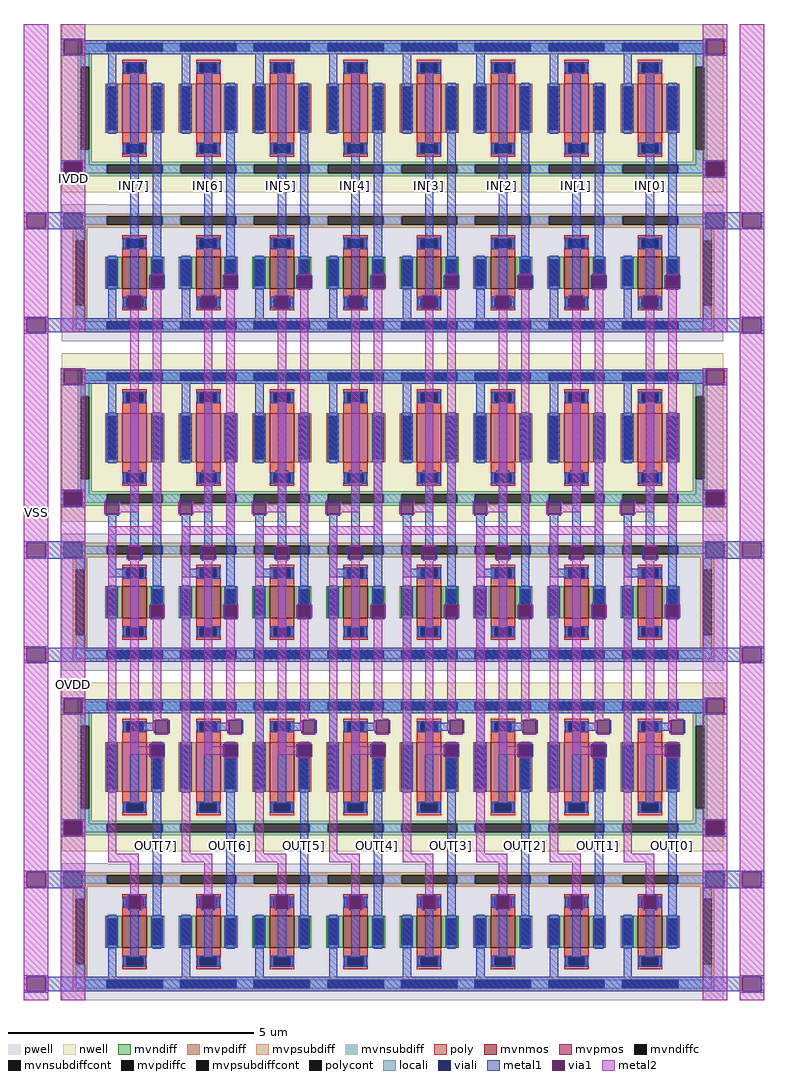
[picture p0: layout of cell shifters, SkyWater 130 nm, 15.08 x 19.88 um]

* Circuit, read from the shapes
.subckt shifters IN[0] IN[1] IN[2] IN[3] IN[4] IN[5] IN[6] IN[7] OUT[0] OUT[1] OUT[2] OUT[3] OUT[4] OUT[5] OUT[6] OUT[7] VSS IVDD OVDD
XM1 OUT[7] shifter_raw_1_0/inverter_raw_0/OUT VSS VSS sky130_fd_pr__nfet_g5v0d10v5 w=0.65 l=0.5
XM2 n1 IN[7] VSS VSS sky130_fd_pr__nfet_g5v0d10v5 w=0.65 l=0.5
XM3 shifter_raw_1_0/inverter_raw_0/OUT IN[7] VSS VSS sky130_fd_pr__nfet_g5v0d10v5 w=0.65 l=0.5
XM4 OUT[6] shifter_raw_1_1/inverter_raw_0/OUT VSS VSS sky130_fd_pr__nfet_g5v0d10v5 w=0.65 l=0.5
XM5 n2 IN[6] VSS VSS sky130_fd_pr__nfet_g5v0d10v5 w=0.65 l=0.5
XM6 shifter_raw_1_1/inverter_raw_0/OUT IN[6] VSS VSS sky130_fd_pr__nfet_g5v0d10v5 w=0.65 l=0.5
XM7 OUT[5] shifter_raw_1_2/inverter_raw_0/OUT VSS VSS sky130_fd_pr__nfet_g5v0d10v5 w=0.65 l=0.5
XM8 n3 IN[5] VSS VSS sky130_fd_pr__nfet_g5v0d10v5 w=0.65 l=0.5
XM9 shifter_raw_1_2/inverter_raw_0/OUT IN[5] VSS VSS sky130_fd_pr__nfet_g5v0d10v5 w=0.65 l=0.5
XM10 OUT[4] shifter_raw_1_3/inverter_raw_0/OUT VSS VSS sky130_fd_pr__nfet_g5v0d10v5 w=0.65 l=0.5
XM11 n4 IN[4] VSS VSS sky130_fd_pr__nfet_g5v0d10v5 w=0.65 l=0.5
XM12 shifter_raw_1_3/inverter_raw_0/OUT IN[4] VSS VSS sky130_fd_pr__nfet_g5v0d10v5 w=0.65 l=0.5
XM13 OUT[3] shifter_raw_1_4/inverter_raw_0/OUT VSS VSS sky130_fd_pr__nfet_g5v0d10v5 w=0.65 l=0.5
XM14 n5 IN[3] VSS VSS sky130_fd_pr__nfet_g5v0d10v5 w=0.65 l=0.5
XM15 shifter_raw_1_4/inverter_raw_0/OUT IN[3] VSS VSS sky130_fd_pr__nfet_g5v0d10v5 w=0.65 l=0.5
XM16 OUT[2] shifter_raw_1_5/inverter_raw_0/OUT VSS VSS sky130_fd_pr__nfet_g5v0d10v5 w=0.65 l=0.5
XM17 n6 IN[2] VSS VSS sky130_fd_pr__nfet_g5v0d10v5 w=0.65 l=0.5
XM18 shifter_raw_1_5/inverter_raw_0/OUT IN[2] VSS VSS sky130_fd_pr__nfet_g5v0d10v5 w=0.65 l=0.5
XM19 OUT[1] shifter_raw_1_6/inverter_raw_0/OUT VSS VSS sky130_fd_pr__nfet_g5v0d10v5 w=0.65 l=0.5
XM20 n7 IN[1] VSS VSS sky130_fd_pr__nfet_g5v0d10v5 w=0.65 l=0.5
XM21 shifter_raw_1_6/inverter_raw_0/OUT IN[1] VSS VSS sky130_fd_pr__nfet_g5v0d10v5 w=0.65 l=0.5
XM22 OUT[0] shifter_raw_1_7/inverter_raw_0/OUT VSS VSS sky130_fd_pr__nfet_g5v0d10v5 w=0.65 l=0.5
XM23 n8 IN[0] VSS VSS sky130_fd_pr__nfet_g5v0d10v5 w=0.65 l=0.5
XM24 shifter_raw_1_7/inverter_raw_0/OUT IN[0] VSS VSS sky130_fd_pr__nfet_g5v0d10v5 w=0.65 l=0.5
XM25 OUT[7] n1 OVDD OVDD sky130_fd_pr__pfet_g5v0d10v5 w=1 l=0.5
XM26 n1 OUT[7] OVDD OVDD sky130_fd_pr__pfet_g5v0d10v5 w=1 l=0.5
XM27 shifter_raw_1_0/inverter_raw_0/OUT IN[7] IVDD IVDD sky130_fd_pr__pfet_g5v0d10v5 w=1 l=0.5
XM28 OUT[6] n2 OVDD OVDD sky130_fd_pr__pfet_g5v0d10v5 w=1 l=0.5
XM29 n2 OUT[6] OVDD OVDD sky130_fd_pr__pfet_g5v0d10v5 w=1 l=0.5
XM30 shifter_raw_1_1/inverter_raw_0/OUT IN[6] IVDD IVDD sky130_fd_pr__pfet_g5v0d10v5 w=1 l=0.5
XM31 OUT[5] n3 OVDD OVDD sky130_fd_pr__pfet_g5v0d10v5 w=1 l=0.5
XM32 n3 OUT[5] OVDD OVDD sky130_fd_pr__pfet_g5v0d10v5 w=1 l=0.5
XM33 shifter_raw_1_2/inverter_raw_0/OUT IN[5] IVDD IVDD sky130_fd_pr__pfet_g5v0d10v5 w=1 l=0.5
XM34 OUT[4] n4 OVDD OVDD sky130_fd_pr__pfet_g5v0d10v5 w=1 l=0.5
XM35 n4 OUT[4] OVDD OVDD sky130_fd_pr__pfet_g5v0d10v5 w=1 l=0.5
XM36 shifter_raw_1_3/inverter_raw_0/OUT IN[4] IVDD IVDD sky130_fd_pr__pfet_g5v0d10v5 w=1 l=0.5
XM37 OUT[3] n5 OVDD OVDD sky130_fd_pr__pfet_g5v0d10v5 w=1 l=0.5
XM38 n5 OUT[3] OVDD OVDD sky130_fd_pr__pfet_g5v0d10v5 w=1 l=0.5
XM39 shifter_raw_1_4/inverter_raw_0/OUT IN[3] IVDD IVDD sky130_fd_pr__pfet_g5v0d10v5 w=1 l=0.5
XM40 OUT[2] n6 OVDD OVDD sky130_fd_pr__pfet_g5v0d10v5 w=1 l=0.5
XM41 n6 OUT[2] OVDD OVDD sky130_fd_pr__pfet_g5v0d10v5 w=1 l=0.5
XM42 shifter_raw_1_5/inverter_raw_0/OUT IN[2] IVDD IVDD sky130_fd_pr__pfet_g5v0d10v5 w=1 l=0.5
XM43 OUT[1] n7 OVDD OVDD sky130_fd_pr__pfet_g5v0d10v5 w=1 l=0.5
XM44 n7 OUT[1] OVDD OVDD sky130_fd_pr__pfet_g5v0d10v5 w=1 l=0.5
XM45 shifter_raw_1_6/inverter_raw_0/OUT IN[1] IVDD IVDD sky130_fd_pr__pfet_g5v0d10v5 w=1 l=0.5
XM46 OUT[0] n8 OVDD OVDD sky130_fd_pr__pfet_g5v0d10v5 w=1 l=0.5
XM47 n8 OUT[0] OVDD OVDD sky130_fd_pr__pfet_g5v0d10v5 w=1 l=0.5
XM48 shifter_raw_1_7/inverter_raw_0/OUT IN[0] IVDD IVDD sky130_fd_pr__pfet_g5v0d10v5 w=1 l=0.5
.ends

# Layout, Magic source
magic
tech sky130A
magscale 1 2
<< locali >>
rect -63 3414 37 3420
rect -63 3356 -51 3414
rect 25 3402 37 3414
rect 2552 3414 2652 3420
rect 2552 3402 2564 3414
rect 25 3368 124 3402
rect 2452 3368 2564 3402
rect 25 3356 37 3368
rect -63 3350 37 3356
rect 2552 3356 2564 3368
rect 2640 3356 2652 3414
rect 2552 3350 2652 3356
rect -63 3204 37 3210
rect -63 3146 -51 3204
rect 25 3192 37 3204
rect 2552 3204 2652 3210
rect 2552 3192 2564 3204
rect 25 3158 124 3192
rect 2452 3158 2564 3192
rect 25 3146 37 3158
rect -63 3140 37 3146
rect 2552 3146 2564 3158
rect 2640 3146 2652 3204
rect 2552 3140 2652 3146
rect -63 2072 37 2078
rect -63 2014 -51 2072
rect 25 2060 37 2072
rect 2552 2072 2652 2078
rect 2552 2060 2564 2072
rect 25 2026 124 2060
rect 2452 2026 2564 2060
rect 25 2014 37 2026
rect -63 2008 37 2014
rect 2552 2014 2564 2026
rect 2640 2014 2652 2072
rect 2552 2008 2652 2014
rect -63 1862 37 1868
rect -63 1804 -51 1862
rect 25 1850 37 1862
rect 2552 1862 2652 1868
rect 2552 1850 2564 1862
rect 25 1816 124 1850
rect 2452 1816 2564 1850
rect 25 1804 37 1816
rect -63 1798 37 1804
rect 2552 1804 2564 1816
rect 2640 1804 2652 1862
rect 2552 1798 2652 1804
rect -63 730 37 736
rect -63 672 -51 730
rect 25 718 37 730
rect 2552 730 2652 736
rect 2552 718 2564 730
rect 25 684 124 718
rect 2452 684 2564 718
rect 25 672 37 684
rect -63 666 37 672
rect 2552 672 2564 684
rect 2640 672 2652 730
rect 2552 666 2652 672
rect -63 520 37 526
rect -63 462 -51 520
rect 25 508 37 520
rect 2552 520 2652 526
rect 2552 508 2564 520
rect 25 474 124 508
rect 2452 474 2564 508
rect 25 462 37 474
rect -63 456 37 462
rect 2552 462 2564 474
rect 2640 462 2652 520
rect 2552 456 2652 462
<< viali >>
rect -51 3356 25 3414
rect 2564 3356 2640 3414
rect -51 3146 25 3204
rect 2564 3146 2640 3204
rect -51 2014 25 2072
rect 2564 2014 2640 2072
rect -51 1804 25 1862
rect 2564 1804 2640 1862
rect -51 672 25 730
rect 2564 672 2640 730
rect -51 462 25 520
rect 2564 462 2640 520
<< metal1 >>
rect -63 3910 37 3916
rect 2552 3910 2652 3916
rect -63 3852 -51 3910
rect 25 3852 2564 3910
rect 2640 3852 2652 3910
rect -63 3846 37 3852
rect 2552 3846 2652 3852
rect -63 3414 37 3420
rect -63 3356 -51 3414
rect 25 3356 37 3414
rect -63 3350 37 3356
rect -213 3204 37 3210
rect -213 3146 -201 3204
rect -125 3146 -51 3204
rect 25 3146 37 3204
rect -213 3140 37 3146
rect 221 2819 255 3820
rect 521 2819 555 3820
rect 821 2819 855 3820
rect 1121 2819 1155 3820
rect 1421 2819 1455 3820
rect 1721 2819 1755 3820
rect 2021 2819 2055 3820
rect 2321 2819 2355 3820
rect 2552 3414 2652 3420
rect 2552 3356 2564 3414
rect 2640 3356 2652 3414
rect 2552 3350 2652 3356
rect 2552 3204 2802 3210
rect 2552 3146 2564 3204
rect 2640 3146 2714 3204
rect 2790 3146 2802 3204
rect 2552 3140 2802 3146
rect -213 2778 -113 2784
rect 2702 2778 2802 2784
rect -213 2720 -201 2778
rect -125 2720 2714 2778
rect 2790 2720 2802 2778
rect -213 2714 -113 2720
rect 2702 2714 2802 2720
rect -63 2568 37 2574
rect 2552 2568 2652 2574
rect -63 2510 -51 2568
rect 25 2510 2564 2568
rect 2640 2510 2652 2568
rect -63 2504 37 2510
rect 2552 2504 2652 2510
rect -63 2072 37 2078
rect -63 2014 -51 2072
rect 25 2014 37 2072
rect -63 2008 37 2014
rect 2552 2072 2652 2078
rect 2552 2014 2564 2072
rect 2640 2014 2652 2072
rect 2552 2008 2652 2014
rect -213 1862 37 1868
rect -213 1804 -201 1862
rect -125 1804 -51 1862
rect 25 1804 37 1862
rect -213 1798 37 1804
rect 2552 1862 2802 1868
rect 2552 1804 2564 1862
rect 2640 1804 2714 1862
rect 2790 1804 2802 1862
rect 2552 1798 2802 1804
rect -213 1436 -113 1442
rect 2702 1436 2802 1442
rect -213 1378 -201 1436
rect -125 1378 2714 1436
rect 2790 1378 2802 1436
rect -213 1372 -113 1378
rect 2702 1372 2802 1378
rect -63 1226 37 1232
rect 2552 1226 2652 1232
rect -63 1168 -51 1226
rect 25 1168 2564 1226
rect 2640 1168 2652 1226
rect -63 1162 37 1168
rect 2552 1162 2652 1168
rect -63 730 37 736
rect -63 672 -51 730
rect 25 672 37 730
rect -63 666 37 672
rect -213 520 37 526
rect -213 462 -201 520
rect -125 462 -51 520
rect 25 462 37 520
rect -213 456 37 462
rect 312 209 346 1053
rect 612 209 646 1053
rect 912 209 946 1053
rect 1212 209 1246 1053
rect 1512 209 1546 1053
rect 1812 209 1846 1053
rect 2112 209 2146 1053
rect 2412 209 2446 1053
rect 2552 730 2652 736
rect 2552 672 2564 730
rect 2640 672 2652 730
rect 2552 666 2652 672
rect 2552 520 2802 526
rect 2552 462 2564 520
rect 2640 462 2714 520
rect 2790 462 2802 520
rect 2552 456 2802 462
rect -213 94 -113 100
rect 2702 94 2802 100
rect -213 36 -201 94
rect -125 36 2714 94
rect 2790 36 2802 94
rect -213 30 -113 36
rect 2702 30 2802 36
<< via1 >>
rect -51 3852 25 3910
rect 2564 3852 2640 3910
rect -51 3356 25 3414
rect -201 3146 -125 3204
rect 2564 3356 2640 3414
rect 2714 3146 2790 3204
rect -201 2720 -125 2778
rect 2714 2720 2790 2778
rect -51 2510 25 2568
rect 2564 2510 2640 2568
rect -51 2014 25 2072
rect 2564 2014 2640 2072
rect -201 1804 -125 1862
rect 2714 1804 2790 1862
rect -201 1378 -125 1436
rect 2714 1378 2790 1436
rect -51 1168 25 1226
rect 2564 1168 2640 1226
rect -51 672 25 730
rect -201 462 -125 520
rect 2564 672 2640 730
rect 2714 462 2790 520
rect -201 36 -125 94
rect 2714 36 2790 94
<< metal2 >>
rect -213 3204 -113 3976
rect -213 3146 -201 3204
rect -125 3146 -113 3204
rect -213 2778 -113 3146
rect -213 2720 -201 2778
rect -125 2720 -113 2778
rect -63 3910 37 3976
rect -63 3852 -51 3910
rect 25 3852 37 3910
rect -63 3414 37 3852
rect -63 3356 -51 3414
rect 25 3356 37 3414
rect -63 2721 37 3356
rect 2552 3910 2652 3976
rect 2552 3852 2564 3910
rect 2640 3852 2652 3910
rect 2552 3414 2652 3852
rect 2552 3356 2564 3414
rect 2640 3356 2652 3414
rect 2552 2721 2652 3356
rect 2702 3204 2802 3976
rect 2702 3146 2714 3204
rect 2790 3146 2802 3204
rect 2702 2778 2802 3146
rect -213 1862 -113 2720
rect 2702 2720 2714 2778
rect 2790 2720 2802 2778
rect -213 1804 -201 1862
rect -125 1804 -113 1862
rect -213 1436 -113 1804
rect -213 1378 -201 1436
rect -125 1378 -113 1436
rect -213 520 -113 1378
rect -213 462 -201 520
rect -125 462 -113 520
rect -213 94 -113 462
rect -213 36 -201 94
rect -125 36 -113 94
rect -213 0 -113 36
rect -63 2568 37 2574
rect -63 2510 -51 2568
rect 25 2510 37 2568
rect -63 2072 37 2510
rect -63 2014 -51 2072
rect 25 2014 37 2072
rect -63 1226 37 2014
rect -63 1168 -51 1226
rect 25 1168 37 1226
rect -63 730 37 1168
rect -63 672 -51 730
rect 25 672 37 730
rect -63 0 37 672
rect 2552 2568 2652 2574
rect 2552 2510 2564 2568
rect 2640 2510 2652 2568
rect 2552 2072 2652 2510
rect 2552 2014 2564 2072
rect 2640 2014 2652 2072
rect 2552 1226 2652 2014
rect 2552 1168 2564 1226
rect 2640 1168 2652 1226
rect 2552 730 2652 1168
rect 2552 672 2564 730
rect 2640 672 2652 730
rect 2552 0 2652 672
rect 2702 1862 2802 2720
rect 2702 1804 2714 1862
rect 2790 1804 2802 1862
rect 2702 1436 2802 1804
rect 2702 1378 2714 1436
rect 2790 1378 2802 1436
rect 2702 520 2802 1378
rect 2702 462 2714 520
rect 2790 462 2802 520
rect 2702 94 2802 462
rect 2702 36 2714 94
rect 2790 36 2802 94
rect 2702 0 2802 36
use shifter_raw  shifter_raw_1
array 0 7 300 0 0 6127
transform 1 0 0 0 1 0
box 88 36 388 3910
use transistor_pair_bus_8  transistor_pair_bus_8_0
transform 1 0 0 0 1 0
box -60 0 2636 1292
use transistor_pair_bus_8  transistor_pair_bus_8_1
transform 1 0 0 0 1 1342
box -60 0 2636 1292
use transistor_pair_bus_8  transistor_pair_bus_8_2
transform 1 0 0 0 1 2684
box -60 0 2636 1292
<< labels >>
flabel metal1 2321 2819 2355 3820 1 FreeSans 400 0 0 0 IN[0]
port 1 n signal default
flabel metal1 2021 2819 2055 3820 1 FreeSans 400 0 0 0 IN[1]
port 2 n signal default
flabel metal1 1721 2819 1755 3820 1 FreeSans 400 0 0 0 IN[2]
port 3 n signal default
flabel metal1 1421 2819 1455 3820 1 FreeSans 400 0 0 0 IN[3]
port 4 n signal default
flabel metal1 1121 2819 1155 3820 1 FreeSans 400 0 0 0 IN[4]
port 5 n signal default
flabel metal1 821 2819 855 3820 1 FreeSans 400 0 0 0 IN[5]
port 6 n signal default
flabel metal1 521 2819 555 3820 1 FreeSans 400 0 0 0 IN[6]
port 7 n signal default
flabel metal1 221 2819 255 3820 1 FreeSans 400 0 0 0 IN[7]
port 8 n signal default
flabel metal1 2412 209 2446 1053 1 FreeSans 400 0 0 0 OUT[0]
port 9 n signal default
flabel metal1 2112 209 2146 1053 1 FreeSans 400 0 0 0 OUT[1]
port 10 n signal default
flabel metal1 1812 209 1846 1053 1 FreeSans 400 0 0 0 OUT[2]
port 11 n signal default
flabel metal1 1512 209 1546 1053 1 FreeSans 400 0 0 0 OUT[3]
port 12 n signal default
flabel metal1 1212 209 1246 1053 1 FreeSans 400 0 0 0 OUT[4]
port 13 n signal default
flabel metal1 912 209 946 1053 1 FreeSans 400 0 0 0 OUT[5]
port 14 n signal default
flabel metal1 612 209 646 1053 1 FreeSans 400 0 0 0 OUT[6]
port 15 n signal default
flabel metal1 312 209 346 1053 1 FreeSans 400 0 0 0 OUT[7]
port 16 n signal default
flabel metal2 -213 0 -113 3976 1 FreeSans 400 0 0 0 VSS
port 17 n ground bidirectional
flabel metal2 -63 2721 37 3976 1 FreeSans 400 0 0 0 IVDD
port 18 n power bidirectional
flabel metal2 -63 0 37 2568 1 FreeSans 400 0 0 0 OVDD
port 19 n power bidirectional
<< end >>

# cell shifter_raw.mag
magic
tech sky130A
magscale 1 2
<< metal1 >>
rect 88 3852 388 3910
rect 221 2868 255 3820
rect 297 2900 303 2952
rect 355 2900 361 2952
rect 206 2816 212 2868
rect 264 2816 270 2868
rect 88 2720 388 2778
rect 88 2510 388 2568
rect 130 2187 164 2510
rect 212 2095 264 2159
rect 121 2031 173 2037
rect 121 1973 173 1979
rect 130 1757 164 1973
rect 221 1847 255 2095
rect 206 1795 212 1847
rect 264 1795 270 1847
rect 130 1723 254 1757
rect 130 1436 164 1689
rect 312 1616 346 2395
rect 303 1610 355 1616
rect 303 1552 355 1558
rect 312 1551 346 1552
rect 88 1378 388 1436
rect 88 1168 388 1226
rect 130 845 164 1168
rect 316 1130 322 1139
rect 220 1096 322 1130
rect 316 1087 322 1096
rect 374 1087 380 1139
rect 312 1042 346 1053
rect 297 990 303 1042
rect 355 990 361 1042
rect 212 424 264 430
rect 212 366 264 372
rect 130 94 164 347
rect 312 209 346 990
rect 88 36 388 94
<< via1 >>
rect 303 2900 355 2952
rect 212 2816 264 2868
rect 121 1979 173 2031
rect 212 1795 264 1847
rect 303 1558 355 1610
rect 322 1087 374 1139
rect 303 990 355 1042
rect 212 372 264 424
<< metal2 >>
rect 303 2952 355 2958
rect 303 2894 355 2900
rect 212 2868 264 2874
rect 212 2810 264 2816
rect 115 1979 121 2031
rect 173 2022 179 2031
rect 221 2022 255 2810
rect 173 1988 255 2022
rect 173 1979 179 1988
rect 312 1929 346 2894
rect 130 1895 346 1929
rect 130 595 164 1895
rect 212 1847 264 1853
rect 212 1789 264 1795
rect 221 1033 255 1789
rect 297 1558 303 1610
rect 355 1558 361 1610
rect 312 1145 346 1558
rect 312 1139 374 1145
rect 312 1096 322 1139
rect 322 1081 374 1087
rect 303 1042 355 1048
rect 221 999 303 1033
rect 303 984 355 990
rect 130 561 255 595
rect 221 424 255 561
rect 206 372 212 424
rect 264 372 270 424
use inverter_raw  inverter_raw_0
transform 1 0 0 0 1 2684
box 88 36 388 1226
<< labels >>
flabel metal1 312 209 346 1053 0 FreeSans 256 0 0 0 OUT
port 2 nsew
flabel metal1 88 2510 388 2568 0 FreeSans 256 0 0 0 OVDD1
port 3 nsew
flabel metal1 88 1378 388 1436 0 FreeSans 256 0 0 0 VSS1
port 6 nsew
flabel metal1 88 1168 388 1226 0 FreeSans 256 0 0 0 OVDD2
port 4 nsew
flabel metal1 88 36 388 94 0 FreeSans 256 0 0 0 VSS2
port 7 nsew
flabel metal1 88 2720 388 2778 0 FreeSans 256 0 0 0 VSS0
port 5 nsew
flabel metal1 88 3852 388 3910 0 FreeSans 256 0 0 0 IVDD
port 1 nsew
flabel metal1 221 2825 255 3814 0 FreeSans 256 0 0 0 IN
port 0 nsew
<< end >>

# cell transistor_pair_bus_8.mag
magic
tech sky130A
magscale 1 2
<< nwell >>
rect -60 606 2636 1292
<< pwell >>
rect -60 556 126 557
rect -60 0 2636 556
<< mvnmos >>
rect 188 213 288 343
rect 488 213 588 343
rect 788 213 888 343
rect 1088 213 1188 343
rect 1388 213 1488 343
rect 1688 213 1788 343
rect 1988 213 2088 343
rect 2288 213 2388 343
<< mvpmos >>
rect 188 849 288 1049
rect 488 849 588 1049
rect 788 849 888 1049
rect 1088 849 1188 1049
rect 1388 849 1488 1049
rect 1688 849 1788 1049
rect 1988 849 2088 1049
rect 2288 849 2388 1049
<< mvndiff >>
rect 118 331 188 343
rect 118 225 130 331
rect 164 225 188 331
rect 118 213 188 225
rect 288 331 358 343
rect 288 225 312 331
rect 346 225 358 331
rect 288 213 358 225
rect 418 331 488 343
rect 418 225 430 331
rect 464 225 488 331
rect 418 213 488 225
rect 588 331 658 343
rect 588 225 612 331
rect 646 225 658 331
rect 588 213 658 225
rect 718 331 788 343
rect 718 225 730 331
rect 764 225 788 331
rect 718 213 788 225
rect 888 331 958 343
rect 888 225 912 331
rect 946 225 958 331
rect 888 213 958 225
rect 1018 331 1088 343
rect 1018 225 1030 331
rect 1064 225 1088 331
rect 1018 213 1088 225
rect 1188 331 1258 343
rect 1188 225 1212 331
rect 1246 225 1258 331
rect 1188 213 1258 225
rect 1318 331 1388 343
rect 1318 225 1330 331
rect 1364 225 1388 331
rect 1318 213 1388 225
rect 1488 331 1558 343
rect 1488 225 1512 331
rect 1546 225 1558 331
rect 1488 213 1558 225
rect 1618 331 1688 343
rect 1618 225 1630 331
rect 1664 225 1688 331
rect 1618 213 1688 225
rect 1788 331 1858 343
rect 1788 225 1812 331
rect 1846 225 1858 331
rect 1788 213 1858 225
rect 1918 331 1988 343
rect 1918 225 1930 331
rect 1964 225 1988 331
rect 1918 213 1988 225
rect 2088 331 2158 343
rect 2088 225 2112 331
rect 2146 225 2158 331
rect 2088 213 2158 225
rect 2218 331 2288 343
rect 2218 225 2230 331
rect 2264 225 2288 331
rect 2218 213 2288 225
rect 2388 331 2458 343
rect 2388 225 2412 331
rect 2446 225 2458 331
rect 2388 213 2458 225
<< mvpdiff >>
rect 118 1037 188 1049
rect 118 861 130 1037
rect 164 861 188 1037
rect 118 849 188 861
rect 288 1037 358 1049
rect 288 861 312 1037
rect 346 861 358 1037
rect 288 849 358 861
rect 418 1037 488 1049
rect 418 861 430 1037
rect 464 861 488 1037
rect 418 849 488 861
rect 588 1037 658 1049
rect 588 861 612 1037
rect 646 861 658 1037
rect 588 849 658 861
rect 718 1037 788 1049
rect 718 861 730 1037
rect 764 861 788 1037
rect 718 849 788 861
rect 888 1037 958 1049
rect 888 861 912 1037
rect 946 861 958 1037
rect 888 849 958 861
rect 1018 1037 1088 1049
rect 1018 861 1030 1037
rect 1064 861 1088 1037
rect 1018 849 1088 861
rect 1188 1037 1258 1049
rect 1188 861 1212 1037
rect 1246 861 1258 1037
rect 1188 849 1258 861
rect 1318 1037 1388 1049
rect 1318 861 1330 1037
rect 1364 861 1388 1037
rect 1318 849 1388 861
rect 1488 1037 1558 1049
rect 1488 861 1512 1037
rect 1546 861 1558 1037
rect 1488 849 1558 861
rect 1618 1037 1688 1049
rect 1618 861 1630 1037
rect 1664 861 1688 1037
rect 1618 849 1688 861
rect 1788 1037 1858 1049
rect 1788 861 1812 1037
rect 1846 861 1858 1037
rect 1788 849 1858 861
rect 1918 1037 1988 1049
rect 1918 861 1930 1037
rect 1964 861 1988 1037
rect 1918 849 1988 861
rect 2088 1037 2158 1049
rect 2088 861 2112 1037
rect 2146 861 2158 1037
rect 2088 849 2158 861
rect 2218 1037 2288 1049
rect 2218 861 2230 1037
rect 2264 861 2288 1037
rect 2218 849 2288 861
rect 2388 1037 2458 1049
rect 2388 861 2412 1037
rect 2446 861 2458 1037
rect 2388 849 2458 861
<< mvndiffc >>
rect 130 225 164 331
rect 312 225 346 331
rect 430 225 464 331
rect 612 225 646 331
rect 730 225 764 331
rect 912 225 946 331
rect 1030 225 1064 331
rect 1212 225 1246 331
rect 1330 225 1364 331
rect 1512 225 1546 331
rect 1630 225 1664 331
rect 1812 225 1846 331
rect 1930 225 1964 331
rect 2112 225 2146 331
rect 2230 225 2264 331
rect 2412 225 2446 331
<< mvpdiffc >>
rect 130 861 164 1037
rect 312 861 346 1037
rect 430 861 464 1037
rect 612 861 646 1037
rect 730 861 764 1037
rect 912 861 946 1037
rect 1030 861 1064 1037
rect 1212 861 1246 1037
rect 1330 861 1364 1037
rect 1512 861 1546 1037
rect 1630 861 1664 1037
rect 1812 861 1846 1037
rect 1930 861 1964 1037
rect 2112 861 2146 1037
rect 2230 861 2264 1037
rect 2412 861 2446 1037
<< mvpsubdiff >>
rect -14 508 2600 520
rect -14 474 124 508
rect 352 474 424 508
rect 652 474 724 508
rect 952 474 1024 508
rect 1252 474 1324 508
rect 1552 474 1624 508
rect 1852 474 1924 508
rect 2152 474 2224 508
rect 2452 474 2600 508
rect -14 462 2600 474
rect -14 412 44 462
rect -14 144 -2 412
rect 32 144 44 412
rect 2542 412 2600 462
rect -14 94 44 144
rect 2542 144 2554 412
rect 2588 144 2600 412
rect 2542 94 2600 144
rect -14 82 2600 94
rect -14 48 124 82
rect 352 48 424 82
rect 652 48 724 82
rect 952 48 1024 82
rect 1252 48 1324 82
rect 1552 48 1624 82
rect 1852 48 1924 82
rect 2152 48 2224 82
rect 2452 48 2600 82
rect -14 36 2600 48
<< mvnsubdiff >>
rect 6 1214 2570 1226
rect 6 1180 124 1214
rect 352 1180 424 1214
rect 652 1180 724 1214
rect 952 1180 1024 1214
rect 1252 1180 1324 1214
rect 1552 1180 1624 1214
rect 1852 1180 1924 1214
rect 2152 1180 2224 1214
rect 2452 1180 2570 1214
rect 6 1168 2570 1180
rect 6 1118 64 1168
rect 6 780 18 1118
rect 52 780 64 1118
rect 2512 1118 2570 1168
rect 6 730 64 780
rect 2512 780 2524 1118
rect 2558 780 2570 1118
rect 2512 730 2570 780
rect 6 718 2570 730
rect 6 684 124 718
rect 352 684 424 718
rect 652 684 724 718
rect 952 684 1024 718
rect 1252 684 1324 718
rect 1552 684 1624 718
rect 1852 684 1924 718
rect 2152 684 2224 718
rect 2452 684 2570 718
rect 6 672 2570 684
<< mvpsubdiffcont >>
rect 124 474 352 508
rect 424 474 652 508
rect 724 474 952 508
rect 1024 474 1252 508
rect 1324 474 1552 508
rect 1624 474 1852 508
rect 1924 474 2152 508
rect 2224 474 2452 508
rect -2 144 32 412
rect 2554 144 2588 412
rect 124 48 352 82
rect 424 48 652 82
rect 724 48 952 82
rect 1024 48 1252 82
rect 1324 48 1552 82
rect 1624 48 1852 82
rect 1924 48 2152 82
rect 2224 48 2452 82
<< mvnsubdiffcont >>
rect 124 1180 352 1214
rect 424 1180 652 1214
rect 724 1180 952 1214
rect 1024 1180 1252 1214
rect 1324 1180 1552 1214
rect 1624 1180 1852 1214
rect 1924 1180 2152 1214
rect 2224 1180 2452 1214
rect 18 780 52 1118
rect 2524 780 2558 1118
rect 124 684 352 718
rect 424 684 652 718
rect 724 684 952 718
rect 1024 684 1252 718
rect 1324 684 1552 718
rect 1624 684 1852 718
rect 1924 684 2152 718
rect 2224 684 2452 718
<< poly >>
rect 188 1130 288 1146
rect 188 1096 204 1130
rect 272 1096 288 1130
rect 188 1049 288 1096
rect 488 1130 588 1146
rect 488 1096 504 1130
rect 572 1096 588 1130
rect 488 1049 588 1096
rect 788 1130 888 1146
rect 788 1096 804 1130
rect 872 1096 888 1130
rect 788 1049 888 1096
rect 1088 1130 1188 1146
rect 1088 1096 1104 1130
rect 1172 1096 1188 1130
rect 1088 1049 1188 1096
rect 1388 1130 1488 1146
rect 1388 1096 1404 1130
rect 1472 1096 1488 1130
rect 1388 1049 1488 1096
rect 1688 1130 1788 1146
rect 1688 1096 1704 1130
rect 1772 1096 1788 1130
rect 1688 1049 1788 1096
rect 1988 1130 2088 1146
rect 1988 1096 2004 1130
rect 2072 1096 2088 1130
rect 1988 1049 2088 1096
rect 2288 1130 2388 1146
rect 2288 1096 2304 1130
rect 2372 1096 2388 1130
rect 2288 1049 2388 1096
rect 188 802 288 849
rect 188 768 204 802
rect 272 768 288 802
rect 188 752 288 768
rect 488 802 588 849
rect 488 768 504 802
rect 572 768 588 802
rect 488 752 588 768
rect 788 802 888 849
rect 788 768 804 802
rect 872 768 888 802
rect 788 752 888 768
rect 1088 802 1188 849
rect 1088 768 1104 802
rect 1172 768 1188 802
rect 1088 752 1188 768
rect 1388 802 1488 849
rect 1388 768 1404 802
rect 1472 768 1488 802
rect 1388 752 1488 768
rect 1688 802 1788 849
rect 1688 768 1704 802
rect 1772 768 1788 802
rect 1688 752 1788 768
rect 1988 802 2088 849
rect 1988 768 2004 802
rect 2072 768 2088 802
rect 1988 752 2088 768
rect 2288 802 2388 849
rect 2288 768 2304 802
rect 2372 768 2388 802
rect 2288 752 2388 768
rect 188 415 288 431
rect 188 381 204 415
rect 272 381 288 415
rect 188 343 288 381
rect 488 415 588 431
rect 488 381 504 415
rect 572 381 588 415
rect 488 343 588 381
rect 788 415 888 431
rect 788 381 804 415
rect 872 381 888 415
rect 788 343 888 381
rect 1088 415 1188 431
rect 1088 381 1104 415
rect 1172 381 1188 415
rect 1088 343 1188 381
rect 1388 415 1488 431
rect 1388 381 1404 415
rect 1472 381 1488 415
rect 1388 343 1488 381
rect 1688 415 1788 431
rect 1688 381 1704 415
rect 1772 381 1788 415
rect 1688 343 1788 381
rect 1988 415 2088 431
rect 1988 381 2004 415
rect 2072 381 2088 415
rect 1988 343 2088 381
rect 2288 415 2388 431
rect 2288 381 2304 415
rect 2372 381 2388 415
rect 2288 343 2388 381
rect 188 175 288 213
rect 188 141 204 175
rect 272 141 288 175
rect 188 125 288 141
rect 488 175 588 213
rect 488 141 504 175
rect 572 141 588 175
rect 488 125 588 141
rect 788 175 888 213
rect 788 141 804 175
rect 872 141 888 175
rect 788 125 888 141
rect 1088 175 1188 213
rect 1088 141 1104 175
rect 1172 141 1188 175
rect 1088 125 1188 141
rect 1388 175 1488 213
rect 1388 141 1404 175
rect 1472 141 1488 175
rect 1388 125 1488 141
rect 1688 175 1788 213
rect 1688 141 1704 175
rect 1772 141 1788 175
rect 1688 125 1788 141
rect 1988 175 2088 213
rect 1988 141 2004 175
rect 2072 141 2088 175
rect 1988 125 2088 141
rect 2288 175 2388 213
rect 2288 141 2304 175
rect 2372 141 2388 175
rect 2288 125 2388 141
<< polycont >>
rect 204 1096 272 1130
rect 504 1096 572 1130
rect 804 1096 872 1130
rect 1104 1096 1172 1130
rect 1404 1096 1472 1130
rect 1704 1096 1772 1130
rect 2004 1096 2072 1130
rect 2304 1096 2372 1130
rect 204 768 272 802
rect 504 768 572 802
rect 804 768 872 802
rect 1104 768 1172 802
rect 1404 768 1472 802
rect 1704 768 1772 802
rect 2004 768 2072 802
rect 2304 768 2372 802
rect 204 381 272 415
rect 504 381 572 415
rect 804 381 872 415
rect 1104 381 1172 415
rect 1404 381 1472 415
rect 1704 381 1772 415
rect 2004 381 2072 415
rect 2304 381 2372 415
rect 204 141 272 175
rect 504 141 572 175
rect 804 141 872 175
rect 1104 141 1172 175
rect 1404 141 1472 175
rect 1704 141 1772 175
rect 2004 141 2072 175
rect 2304 141 2372 175
<< locali >>
rect 18 1180 124 1214
rect 352 1180 424 1214
rect 652 1180 724 1214
rect 952 1180 1024 1214
rect 1252 1180 1324 1214
rect 1552 1180 1624 1214
rect 1852 1180 1924 1214
rect 2152 1180 2224 1214
rect 2452 1180 2558 1214
rect 18 1118 52 1180
rect 188 1096 204 1130
rect 272 1096 288 1130
rect 488 1096 504 1130
rect 572 1096 588 1130
rect 788 1096 804 1130
rect 872 1096 888 1130
rect 1088 1096 1104 1130
rect 1172 1096 1188 1130
rect 1388 1096 1404 1130
rect 1472 1096 1488 1130
rect 1688 1096 1704 1130
rect 1772 1096 1788 1130
rect 1988 1096 2004 1130
rect 2072 1096 2088 1130
rect 2288 1096 2304 1130
rect 2372 1096 2388 1130
rect 2524 1118 2558 1180
rect 130 1037 164 1053
rect 130 845 164 861
rect 312 1037 346 1053
rect 312 845 346 861
rect 430 1037 464 1053
rect 430 845 464 861
rect 612 1037 646 1053
rect 612 845 646 861
rect 730 1037 764 1053
rect 730 845 764 861
rect 912 1037 946 1053
rect 912 845 946 861
rect 1030 1037 1064 1053
rect 1030 845 1064 861
rect 1212 1037 1246 1053
rect 1212 845 1246 861
rect 1330 1037 1364 1053
rect 1330 845 1364 861
rect 1512 1037 1546 1053
rect 1512 845 1546 861
rect 1630 1037 1664 1053
rect 1630 845 1664 861
rect 1812 1037 1846 1053
rect 1812 845 1846 861
rect 1930 1037 1964 1053
rect 1930 845 1964 861
rect 2112 1037 2146 1053
rect 2112 845 2146 861
rect 2230 1037 2264 1053
rect 2230 845 2264 861
rect 2412 1037 2446 1053
rect 2412 845 2446 861
rect 18 718 52 780
rect 188 768 204 802
rect 272 768 288 802
rect 488 768 504 802
rect 572 768 588 802
rect 788 768 804 802
rect 872 768 888 802
rect 1088 768 1104 802
rect 1172 768 1188 802
rect 1388 768 1404 802
rect 1472 768 1488 802
rect 1688 768 1704 802
rect 1772 768 1788 802
rect 1988 768 2004 802
rect 2072 768 2088 802
rect 2288 768 2304 802
rect 2372 768 2388 802
rect 2524 718 2558 780
rect 18 684 124 718
rect 352 684 424 718
rect 652 684 724 718
rect 952 684 1024 718
rect 1252 684 1324 718
rect 1552 684 1624 718
rect 1852 684 1924 718
rect 2152 684 2224 718
rect 2452 684 2558 718
rect -2 474 124 508
rect 352 474 424 508
rect 652 474 724 508
rect 952 474 1024 508
rect 1252 474 1324 508
rect 1552 474 1624 508
rect 1852 474 1924 508
rect 2152 474 2224 508
rect 2452 474 2588 508
rect -2 412 32 474
rect 188 381 204 415
rect 272 381 288 415
rect 488 381 504 415
rect 572 381 588 415
rect 788 381 804 415
rect 872 381 888 415
rect 1088 381 1104 415
rect 1172 381 1188 415
rect 1388 381 1404 415
rect 1472 381 1488 415
rect 1688 381 1704 415
rect 1772 381 1788 415
rect 1988 381 2004 415
rect 2072 381 2088 415
rect 2288 381 2304 415
rect 2372 381 2388 415
rect 2554 412 2588 474
rect 130 331 164 347
rect 130 209 164 225
rect 312 331 346 347
rect 312 209 346 225
rect 430 331 464 347
rect 430 209 464 225
rect 612 331 646 347
rect 612 209 646 225
rect 730 331 764 347
rect 730 209 764 225
rect 912 331 946 347
rect 912 209 946 225
rect 1030 331 1064 347
rect 1030 209 1064 225
rect 1212 331 1246 347
rect 1212 209 1246 225
rect 1330 331 1364 347
rect 1330 209 1364 225
rect 1512 331 1546 347
rect 1512 209 1546 225
rect 1630 331 1664 347
rect 1630 209 1664 225
rect 1812 331 1846 347
rect 1812 209 1846 225
rect 1930 331 1964 347
rect 1930 209 1964 225
rect 2112 331 2146 347
rect 2112 209 2146 225
rect 2230 331 2264 347
rect 2230 209 2264 225
rect 2412 331 2446 347
rect 2412 209 2446 225
rect -2 82 32 144
rect 188 141 204 175
rect 272 141 288 175
rect 488 141 504 175
rect 572 141 588 175
rect 788 141 804 175
rect 872 141 888 175
rect 1088 141 1104 175
rect 1172 141 1188 175
rect 1388 141 1404 175
rect 1472 141 1488 175
rect 1688 141 1704 175
rect 1772 141 1788 175
rect 1988 141 2004 175
rect 2072 141 2088 175
rect 2288 141 2304 175
rect 2372 141 2388 175
rect 2554 82 2588 144
rect -2 48 124 82
rect 352 48 424 82
rect 652 48 724 82
rect 952 48 1024 82
rect 1252 48 1324 82
rect 1552 48 1624 82
rect 1852 48 1924 82
rect 2152 48 2224 82
rect 2452 48 2588 82
<< viali >>
rect 124 1180 352 1214
rect 424 1180 652 1214
rect 724 1180 952 1214
rect 1024 1180 1252 1214
rect 1324 1180 1552 1214
rect 1624 1180 1852 1214
rect 1924 1180 2152 1214
rect 2224 1180 2452 1214
rect 204 1096 272 1130
rect 504 1096 572 1130
rect 804 1096 872 1130
rect 1104 1096 1172 1130
rect 1404 1096 1472 1130
rect 1704 1096 1772 1130
rect 2004 1096 2072 1130
rect 2304 1096 2372 1130
rect 130 861 164 1037
rect 312 861 346 1037
rect 430 861 464 1037
rect 612 861 646 1037
rect 730 861 764 1037
rect 912 861 946 1037
rect 1030 861 1064 1037
rect 1212 861 1246 1037
rect 1330 861 1364 1037
rect 1512 861 1546 1037
rect 1630 861 1664 1037
rect 1812 861 1846 1037
rect 1930 861 1964 1037
rect 2112 861 2146 1037
rect 2230 861 2264 1037
rect 2412 861 2446 1037
rect 204 768 272 802
rect 504 768 572 802
rect 804 768 872 802
rect 1104 768 1172 802
rect 1404 768 1472 802
rect 1704 768 1772 802
rect 2004 768 2072 802
rect 2304 768 2372 802
rect 204 381 272 415
rect 504 381 572 415
rect 804 381 872 415
rect 1104 381 1172 415
rect 1404 381 1472 415
rect 1704 381 1772 415
rect 2004 381 2072 415
rect 2304 381 2372 415
rect 130 225 164 331
rect 312 225 346 331
rect 430 225 464 331
rect 612 225 646 331
rect 730 225 764 331
rect 912 225 946 331
rect 1030 225 1064 331
rect 1212 225 1246 331
rect 1330 225 1364 331
rect 1512 225 1546 331
rect 1630 225 1664 331
rect 1812 225 1846 331
rect 1930 225 1964 331
rect 2112 225 2146 331
rect 2230 225 2264 331
rect 2412 225 2446 331
rect 204 141 272 175
rect 504 141 572 175
rect 804 141 872 175
rect 1104 141 1172 175
rect 1404 141 1472 175
rect 1704 141 1772 175
rect 2004 141 2072 175
rect 2304 141 2372 175
rect 124 48 352 82
rect 424 48 652 82
rect 724 48 952 82
rect 1024 48 1252 82
rect 1324 48 1552 82
rect 1624 48 1852 82
rect 1924 48 2152 82
rect 2224 48 2452 82
<< metal1 >>
rect 88 1214 2488 1226
rect 88 1180 124 1214
rect 352 1180 424 1214
rect 652 1180 724 1214
rect 952 1180 1024 1214
rect 1252 1180 1324 1214
rect 1552 1180 1624 1214
rect 1852 1180 1924 1214
rect 2152 1180 2224 1214
rect 2452 1180 2488 1214
rect 88 1168 2488 1180
rect 192 1130 284 1136
rect 192 1096 204 1130
rect 272 1096 284 1130
rect 192 1090 284 1096
rect 492 1130 584 1136
rect 492 1096 504 1130
rect 572 1096 584 1130
rect 492 1090 584 1096
rect 792 1130 884 1136
rect 792 1096 804 1130
rect 872 1096 884 1130
rect 792 1090 884 1096
rect 1092 1130 1184 1136
rect 1092 1096 1104 1130
rect 1172 1096 1184 1130
rect 1092 1090 1184 1096
rect 1392 1130 1484 1136
rect 1392 1096 1404 1130
rect 1472 1096 1484 1130
rect 1392 1090 1484 1096
rect 1692 1130 1784 1136
rect 1692 1096 1704 1130
rect 1772 1096 1784 1130
rect 1692 1090 1784 1096
rect 1992 1130 2084 1136
rect 1992 1096 2004 1130
rect 2072 1096 2084 1130
rect 1992 1090 2084 1096
rect 2292 1130 2384 1136
rect 2292 1096 2304 1130
rect 2372 1096 2384 1130
rect 2292 1090 2384 1096
rect 130 1049 164 1053
rect 124 1037 170 1049
rect 124 861 130 1037
rect 164 861 170 1037
rect 124 849 170 861
rect 130 845 164 849
rect 221 808 255 1090
rect 312 1049 346 1053
rect 430 1049 464 1053
rect 306 1037 352 1049
rect 306 861 312 1037
rect 346 861 352 1037
rect 306 849 352 861
rect 424 1037 470 1049
rect 424 861 430 1037
rect 464 861 470 1037
rect 424 849 470 861
rect 312 845 346 849
rect 430 845 464 849
rect 521 808 555 1090
rect 612 1049 646 1053
rect 730 1049 764 1053
rect 606 1037 652 1049
rect 606 861 612 1037
rect 646 861 652 1037
rect 606 849 652 861
rect 724 1037 770 1049
rect 724 861 730 1037
rect 764 861 770 1037
rect 724 849 770 861
rect 612 845 646 849
rect 730 845 764 849
rect 821 808 855 1090
rect 912 1049 946 1053
rect 1030 1049 1064 1053
rect 906 1037 952 1049
rect 906 861 912 1037
rect 946 861 952 1037
rect 906 849 952 861
rect 1024 1037 1070 1049
rect 1024 861 1030 1037
rect 1064 861 1070 1037
rect 1024 849 1070 861
rect 912 845 946 849
rect 1030 845 1064 849
rect 1121 808 1155 1090
rect 1212 1049 1246 1053
rect 1330 1049 1364 1053
rect 1206 1037 1252 1049
rect 1206 861 1212 1037
rect 1246 861 1252 1037
rect 1206 849 1252 861
rect 1324 1037 1370 1049
rect 1324 861 1330 1037
rect 1364 861 1370 1037
rect 1324 849 1370 861
rect 1212 845 1246 849
rect 1330 845 1364 849
rect 1421 808 1455 1090
rect 1512 1049 1546 1053
rect 1630 1049 1664 1053
rect 1506 1037 1552 1049
rect 1506 861 1512 1037
rect 1546 861 1552 1037
rect 1506 849 1552 861
rect 1624 1037 1670 1049
rect 1624 861 1630 1037
rect 1664 861 1670 1037
rect 1624 849 1670 861
rect 1512 845 1546 849
rect 1630 845 1664 849
rect 1721 808 1755 1090
rect 1812 1049 1846 1053
rect 1930 1049 1964 1053
rect 1806 1037 1852 1049
rect 1806 861 1812 1037
rect 1846 861 1852 1037
rect 1806 849 1852 861
rect 1924 1037 1970 1049
rect 1924 861 1930 1037
rect 1964 861 1970 1037
rect 1924 849 1970 861
rect 1812 845 1846 849
rect 1930 845 1964 849
rect 2021 808 2055 1090
rect 2112 1049 2146 1053
rect 2230 1049 2264 1053
rect 2106 1037 2152 1049
rect 2106 861 2112 1037
rect 2146 861 2152 1037
rect 2106 849 2152 861
rect 2224 1037 2270 1049
rect 2224 861 2230 1037
rect 2264 861 2270 1037
rect 2224 849 2270 861
rect 2112 845 2146 849
rect 2230 845 2264 849
rect 2321 808 2355 1090
rect 2412 1049 2446 1053
rect 2406 1037 2452 1049
rect 2406 861 2412 1037
rect 2446 861 2452 1037
rect 2406 849 2452 861
rect 2412 845 2446 849
rect 192 802 284 808
rect 192 768 204 802
rect 272 768 284 802
rect 192 762 284 768
rect 492 802 584 808
rect 492 768 504 802
rect 572 768 584 802
rect 492 762 584 768
rect 792 802 884 808
rect 792 768 804 802
rect 872 768 884 802
rect 792 762 884 768
rect 1092 802 1184 808
rect 1092 768 1104 802
rect 1172 768 1184 802
rect 1092 762 1184 768
rect 1392 802 1484 808
rect 1392 768 1404 802
rect 1472 768 1484 802
rect 1392 762 1484 768
rect 1692 802 1784 808
rect 1692 768 1704 802
rect 1772 768 1784 802
rect 1692 762 1784 768
rect 1992 802 2084 808
rect 1992 768 2004 802
rect 2072 768 2084 802
rect 1992 762 2084 768
rect 2292 802 2384 808
rect 2292 768 2304 802
rect 2372 768 2384 802
rect 2292 762 2384 768
rect 192 415 284 421
rect 192 381 204 415
rect 272 381 284 415
rect 192 375 284 381
rect 492 415 584 421
rect 492 381 504 415
rect 572 381 584 415
rect 492 375 584 381
rect 792 415 884 421
rect 792 381 804 415
rect 872 381 884 415
rect 792 375 884 381
rect 1092 415 1184 421
rect 1092 381 1104 415
rect 1172 381 1184 415
rect 1092 375 1184 381
rect 1392 415 1484 421
rect 1392 381 1404 415
rect 1472 381 1484 415
rect 1392 375 1484 381
rect 1692 415 1784 421
rect 1692 381 1704 415
rect 1772 381 1784 415
rect 1692 375 1784 381
rect 1992 415 2084 421
rect 1992 381 2004 415
rect 2072 381 2084 415
rect 1992 375 2084 381
rect 2292 415 2384 421
rect 2292 381 2304 415
rect 2372 381 2384 415
rect 2292 375 2384 381
rect 130 343 164 347
rect 124 331 170 343
rect 124 225 130 331
rect 164 225 170 331
rect 124 213 170 225
rect 130 209 164 213
rect 221 181 255 375
rect 312 343 346 347
rect 430 343 464 347
rect 306 331 352 343
rect 306 225 312 331
rect 346 225 352 331
rect 306 213 352 225
rect 424 331 470 343
rect 424 225 430 331
rect 464 225 470 331
rect 424 213 470 225
rect 312 209 346 213
rect 430 209 464 213
rect 521 181 555 375
rect 612 343 646 347
rect 730 343 764 347
rect 606 331 652 343
rect 606 225 612 331
rect 646 225 652 331
rect 606 213 652 225
rect 724 331 770 343
rect 724 225 730 331
rect 764 225 770 331
rect 724 213 770 225
rect 612 209 646 213
rect 730 209 764 213
rect 821 181 855 375
rect 912 343 946 347
rect 1030 343 1064 347
rect 906 331 952 343
rect 906 225 912 331
rect 946 225 952 331
rect 906 213 952 225
rect 1024 331 1070 343
rect 1024 225 1030 331
rect 1064 225 1070 331
rect 1024 213 1070 225
rect 912 209 946 213
rect 1030 209 1064 213
rect 1121 181 1155 375
rect 1212 343 1246 347
rect 1330 343 1364 347
rect 1206 331 1252 343
rect 1206 225 1212 331
rect 1246 225 1252 331
rect 1206 213 1252 225
rect 1324 331 1370 343
rect 1324 225 1330 331
rect 1364 225 1370 331
rect 1324 213 1370 225
rect 1212 209 1246 213
rect 1330 209 1364 213
rect 1421 181 1455 375
rect 1512 343 1546 347
rect 1630 343 1664 347
rect 1506 331 1552 343
rect 1506 225 1512 331
rect 1546 225 1552 331
rect 1506 213 1552 225
rect 1624 331 1670 343
rect 1624 225 1630 331
rect 1664 225 1670 331
rect 1624 213 1670 225
rect 1512 209 1546 213
rect 1630 209 1664 213
rect 1721 181 1755 375
rect 1812 343 1846 347
rect 1930 343 1964 347
rect 1806 331 1852 343
rect 1806 225 1812 331
rect 1846 225 1852 331
rect 1806 213 1852 225
rect 1924 331 1970 343
rect 1924 225 1930 331
rect 1964 225 1970 331
rect 1924 213 1970 225
rect 1812 209 1846 213
rect 1930 209 1964 213
rect 2021 181 2055 375
rect 2112 343 2146 347
rect 2230 343 2264 347
rect 2106 331 2152 343
rect 2106 225 2112 331
rect 2146 225 2152 331
rect 2106 213 2152 225
rect 2224 331 2270 343
rect 2224 225 2230 331
rect 2264 225 2270 331
rect 2224 213 2270 225
rect 2112 209 2146 213
rect 2230 209 2264 213
rect 2321 181 2355 375
rect 2412 343 2446 347
rect 2406 331 2452 343
rect 2406 225 2412 331
rect 2446 225 2452 331
rect 2406 213 2452 225
rect 2412 209 2446 213
rect 192 175 284 181
rect 192 141 204 175
rect 272 141 284 175
rect 192 135 284 141
rect 492 175 584 181
rect 492 141 504 175
rect 572 141 584 175
rect 492 135 584 141
rect 792 175 884 181
rect 792 141 804 175
rect 872 141 884 175
rect 792 135 884 141
rect 1092 175 1184 181
rect 1092 141 1104 175
rect 1172 141 1184 175
rect 1092 135 1184 141
rect 1392 175 1484 181
rect 1392 141 1404 175
rect 1472 141 1484 175
rect 1392 135 1484 141
rect 1692 175 1784 181
rect 1692 141 1704 175
rect 1772 141 1784 175
rect 1692 135 1784 141
rect 1992 175 2084 181
rect 1992 141 2004 175
rect 2072 141 2084 175
rect 1992 135 2084 141
rect 2292 175 2384 181
rect 2292 141 2304 175
rect 2372 141 2384 175
rect 2292 135 2384 141
rect 88 82 2488 94
rect 88 48 124 82
rect 352 48 424 82
rect 652 48 724 82
rect 952 48 1024 82
rect 1252 48 1324 82
rect 1552 48 1624 82
rect 1852 48 1924 82
rect 2152 48 2224 82
rect 2452 48 2488 82
rect 88 36 2488 48
<< labels >>
flabel metal1 88 1168 2488 1226 0 FreeSans 256 0 0 0 VDD
port 0 nsew power bidirectional
flabel metal1 88 36 2488 94 0 FreeSans 256 0 0 0 VSS
port 1 nsew ground bidirectional
<< end >>

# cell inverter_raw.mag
magic
tech sky130A
magscale 1 2
<< metal1 >>
rect 88 1168 388 1226
rect 130 845 164 1168
rect 130 94 164 347
rect 221 141 255 1130
rect 312 209 346 1053
rect 88 36 388 94
<< labels >>
flabel metal1 221 141 255 1130 0 FreeSans 256 0 0 0 IN
port 0 nsew
flabel metal1 312 209 346 1053 0 FreeSans 256 0 0 0 OUT
port 1 nsew
flabel metal1 88 1168 388 1226 0 FreeSans 256 0 0 0 VDD
port 2 nsew
flabel metal1 88 36 388 94 0 FreeSans 256 0 0 0 VSS
port 3 nsew
<< end >>
